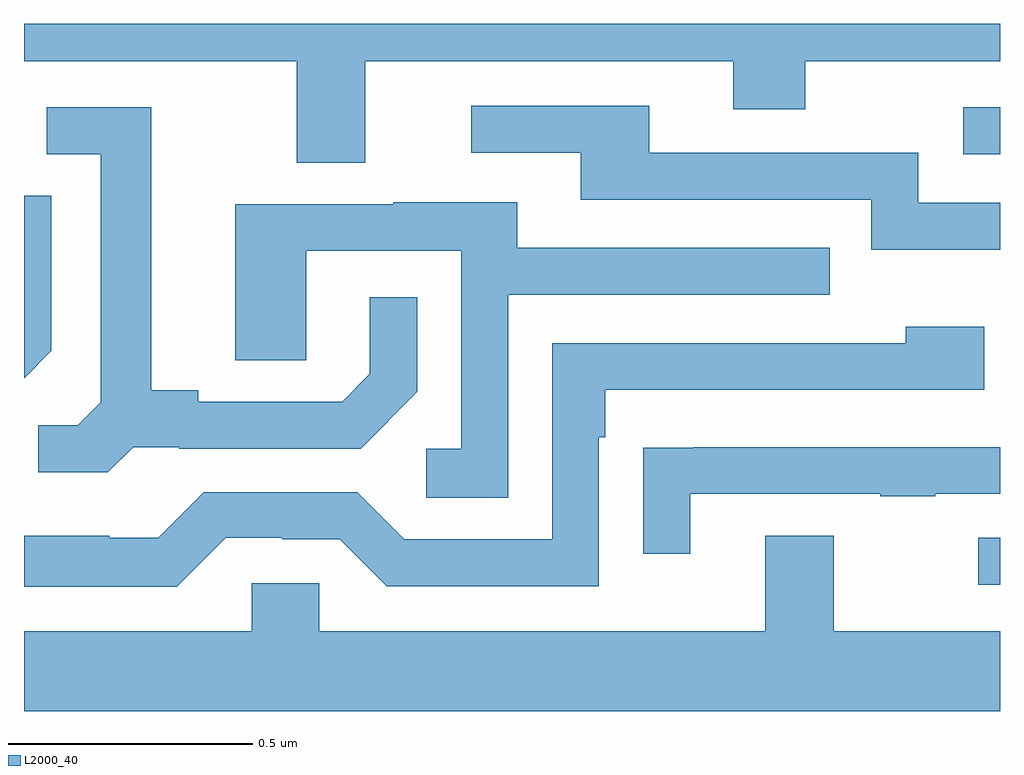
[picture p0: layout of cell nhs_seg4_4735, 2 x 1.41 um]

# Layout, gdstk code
import gdstk
lib = gdstk.Library(unit=1e-6, precision=1e-09)
def R(c, l, rs):  # rectangles x0, y0, x1, y1
    for r in rs: c.add(gdstk.rectangle(r[:2], r[2:], *l))
def P(c, l, *ps):  # polygons
    for p in ps: c.add(gdstk.Polygon(p, *l))
L2000_40 = (2000, 40)

nhs_seg4_4735 = lib.new_cell('nhs_seg4_4735')
R(nhs_seg4_4735, L2000_40, [(170.955,791.751,171,791.847), (170.925,792.633,171,792.729)])
P(nhs_seg4_4735, L2000_40, [(169.699,792.824),(170.453,792.824),(170.453,792.725),(170.601,792.725),(170.601,792.824),(171,792.824),(171,792.9),(169,792.9),(169,792.824),(169.559,792.824),(169.559,792.616),(169.699,792.616)],
  [(171,792.534),(170.832,792.534),(170.832,792.636),(170.281,792.636),(170.281,792.732),(169.917,792.732),(169.917,792.636),(170.141,792.636),(170.141,792.54),(170.736,792.54),(170.736,792.437),(171,792.437)],
  [(169.224,792.033),(169.318,792.033),(169.318,792.03),(169.69,792.03),(169.806,792.146),(169.806,792.34),(169.709,792.34),(169.709,792.183),(169.652,792.126),(169.357,792.126),(169.357,792.149),(169.261,792.149),(169.261,792.729),(169.047,792.729),(169.047,792.633),(169.157,792.633),(169.157,792.125),(169.11,792.078),(169.029,792.078),(169.029,791.981),(169.172,791.981)],
  [(169.056,792.23),(169.056,792.548),(169,792.548),(169,792.174)],
  [(169.992,792.345),(170.651,792.345),(170.651,792.441),(170.011,792.441),(170.011,792.535),(169.757,792.535),(169.757,792.531),(169.433,792.531),(169.433,792.211),(169.578,792.211),(169.578,792.435),(169.896,792.435),(169.896,792.03),(169.824,792.03),(169.824,791.929),(169.992,791.929)],
  [(169.413,791.847),(169.529,791.847),(169.529,791.844),(169.647,791.844),(169.743,791.748),(170.178,791.748),(170.178,792.053),(170.191,792.053),(170.191,792.15),(170.968,792.15),(170.968,792.28),(170.807,792.28),(170.807,792.246),(170.082,792.246),(170.082,791.844),(169.779,791.844),(169.683,791.94),(169.368,791.94),(169.275,791.847),(169.175,791.847),(169.175,791.851),(169,791.851),(169,791.747),(169.313,791.747)],
  [(170.365,791.937),(170.755,791.937),(170.755,791.932),(170.867,791.932),(170.867,791.937),(171,791.937),(171,792.033),(170.371,792.033),(170.371,792.032),(170.269,792.032),(170.269,791.814),(170.365,791.814)],
  [(171,791.656),(170.659,791.656),(170.659,791.851),(170.519,791.851),(170.519,791.656),(169.605,791.656),(169.605,791.754),(169.467,791.754),(169.467,791.656),(169,791.656),(169,791.492),(171,791.492)])

lib.write_gds('nhs_seg4_4735.gds')
